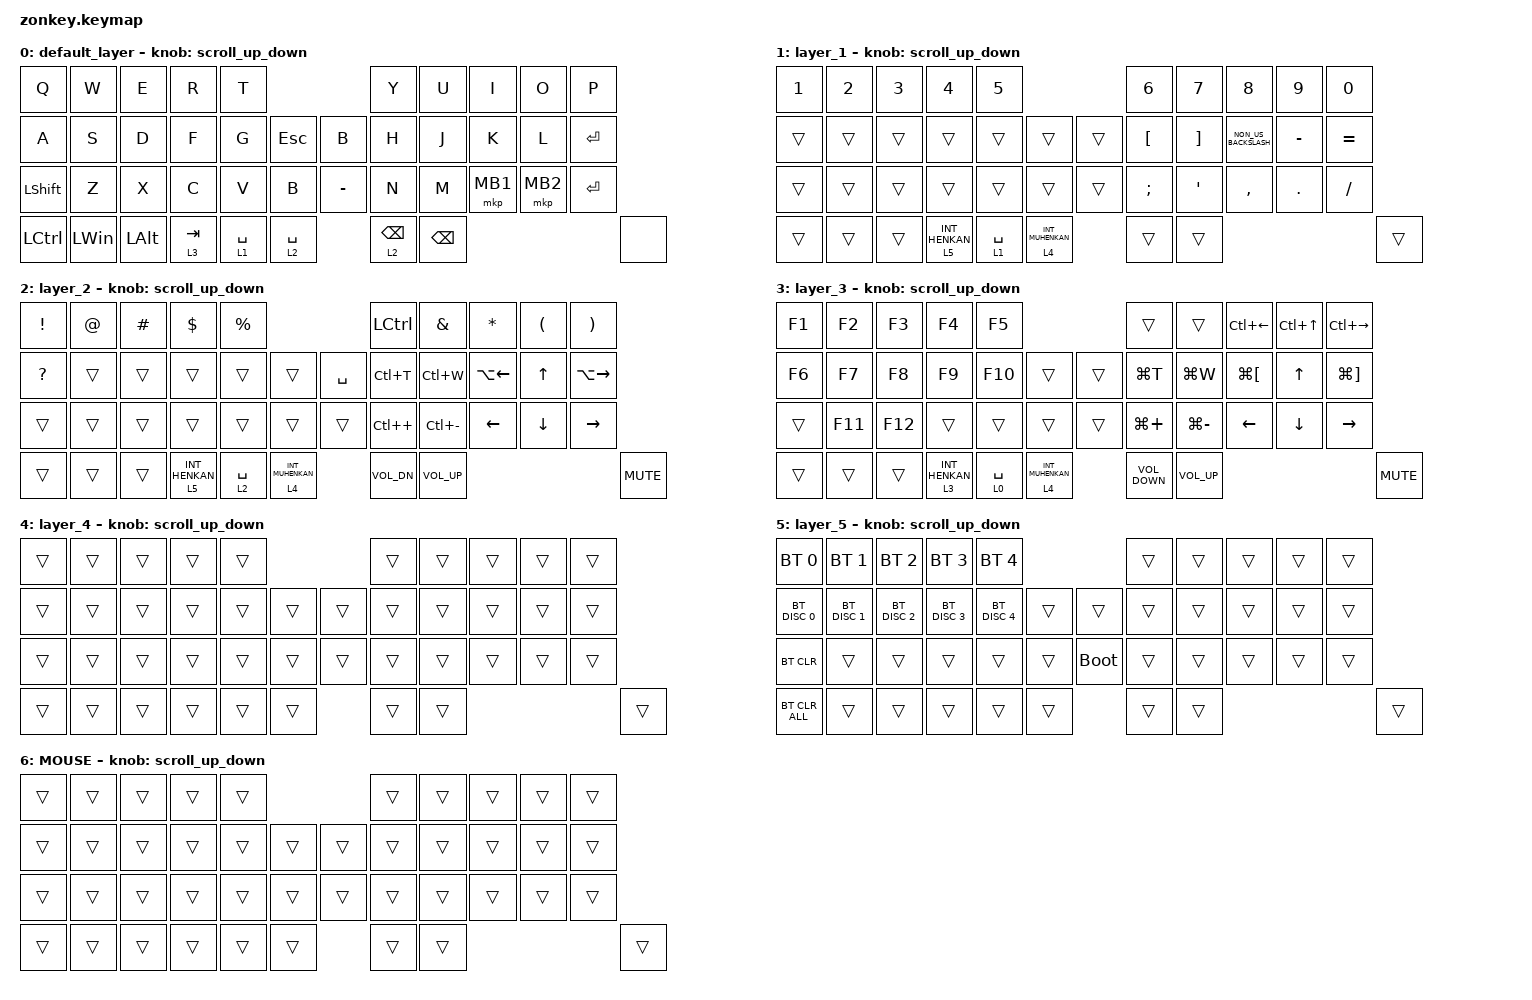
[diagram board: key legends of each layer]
#include <physical_layouts.dtsi>
#include <behaviors.dtsi>
#include <dt-bindings/zmk/bt.h>
#include <dt-bindings/zmk/keys.h>
#include <dt-bindings/zmk/pointing.h>

#define ZMK_POINTING_DEFAULT_SCRL_VAL 100
#define DFb 0
#define JIS 1
#define BT 4
#define MOUSE 6
#define JP_DQUOTE       AT                // "
#define JP_AMPERSAND    CARET             // &
#define JP_QUOTE        AMPERSAND         // '
#define JP_EQUAL        UNDER             // =
#define JP_CARET        EQUAL             // ^
#define JP_YEN          0x89              // ¥
#define JP_PLUS         COLON             // +
#define JP_TILDE        PLUS              // ~
#define JP_PIPE         LS(0x89)          // |
#define JP_AT           LEFT_BRACKET      // @
#define JP_COLON        SINGLE_QUOTE      // :
#define JP_ASTERISK     DOUBLE_QUOTES     // *
#define JP_BACKQUOTE    LEFT_BRACE        // `
#define JP_UNDERSCORE   LS(0x87)          // _
#define JP_LBRACKET     RIGHT_BRACKET     // [
#define JP_RBRACKET     BACKSLASH         // ]
#define JP_LPAREN       ASTERISK          // (
#define JP_RPAREN       LEFT_PARENTHESIS  // )
#define JP_LBRACE       RIGHT_BRACE       // {
#define JP_RBRACE       PIPE              // }
#define JP_KANA         LANGUAGE_1        // かな
#define JP_EISU         LANGUAGE_2        // 英数
#define JP_HANZEN       GRAVE             // 半角/全角
#define JP_BSLH  INT1         // (backslash)

&mt {
    flavor = "balanced";
    quick-tap-ms = <0>;
};

/ {
    combos { compatible = "zmk,combos"; };

    macros {
        to_layer_0: to_layer_0 {
            compatible = "zmk,behavior-macro-one-param";
            #binding-cells = <1>;
            bindings = <&to 0 &macro_param_1to1 &kp MACRO_PLACEHOLDER>;
            label = "TO_LAYER_0";
        };
    };

    behaviors {
        lt_to_layer_0: lt_to_layer_0 {
            compatible = "zmk,behavior-hold-tap";
            label = "LAYER_TAP_TO_0";
            bindings = <&mo>, <&to_layer_0>;

            #binding-cells = <2>;
            tapping-term-ms = <200>;
        };

        mo2: mo2 {
            compatible = "zmk,behavior-mod-morph";
            #binding-cells = <0>;
            bindings = <&kp N2>, <&kp AT>;

            mods = <(MOD_LSFT|MOD_RSFT)>;
        };

        mo6: mo6 {
            compatible = "zmk,behavior-mod-morph";
            #binding-cells = <0>;
            bindings = <&kp N6>, <&kp CARET>;

            mods = <(MOD_LSFT|MOD_RSFT)>;
        };

        mo7: mo7 {
            compatible = "zmk,behavior-mod-morph";
            #binding-cells = <0>;
            bindings = <&kp N7>, <&kp AMPS>;

            mods = <(MOD_LSFT|MOD_RSFT)>;
        };

        mo8: mo8 {
            compatible = "zmk,behavior-mod-morph";
            #binding-cells = <0>;
            bindings = <&kp N8>, <&kp ASTRK>;

            mods = <(MOD_LSFT|MOD_RSFT)>;
        };

        mo9: mo9 {
            compatible = "zmk,behavior-mod-morph";
            #binding-cells = <0>;
            bindings = <&kp N9>, <&kp LPAR>;

            mods = <(MOD_LSFT|MOD_RSFT)>;
        };

        mo0: mo0 {
            compatible = "zmk,behavior-mod-morph";
            #binding-cells = <0>;
            bindings = <&kp N0>, <&kp LS(N9)>;

            mods = <(MOD_LSFT|MOD_RSFT)>;
        };

        moA: moA {
            compatible = "zmk,behavior-mod-morph";
            #binding-cells = <0>;
            bindings = <&kp MINUS>, <&kp UNDERSCORE>;

            mods = <(MOD_LSFT|MOD_RSFT)>;
        };

        moB: moB {
            compatible = "zmk,behavior-mod-morph";
            #binding-cells = <0>;
            bindings = <&kp EQUAL>, <&kp PLUS>;

            mods = <(MOD_LSFT|MOD_RSFT)>;
        };

        moC: moC {
            compatible = "zmk,behavior-mod-morph";
            #binding-cells = <0>;
            bindings = <&kp INT3>, <&kp JP_PIPE>;

            mods = <(MOD_LSFT|MOD_RSFT)>;
        };

        moD: moD {
            compatible = "zmk,behavior-mod-morph";
            #binding-cells = <0>;
            bindings = <&kp LBKT>, <&kp LBRC>;

            mods = <(MOD_LSFT|MOD_RSFT)>;
        };

        moE: moE {
            compatible = "zmk,behavior-mod-morph";
            #binding-cells = <0>;
            bindings = <&kp RBKT>, <&kp RBRC>;

            mods = <(MOD_LSFT|MOD_RSFT)>;
        };

        moF: moF {
            compatible = "zmk,behavior-mod-morph";
            #binding-cells = <0>;
            bindings = <&kp SEMI>, <&kp KP_PLUS>;

            mods = <(MOD_LSFT|MOD_RSFT)>;
        };

        moG: moG {
            compatible = "zmk,behavior-mod-morph";
            #binding-cells = <0>;
            bindings = <&kp APOSTROPHE>, <&kp DQT>;

            mods = <(MOD_LSFT|MOD_RSFT)>;
        };

        moH: moH {
            compatible = "zmk,behavior-mod-morph";
            #binding-cells = <0>;
            bindings = <&kp BACKSLASH>, <&kp TILDE2>;

            mods = <(MOD_LSFT|MOD_RSFT)>;
        };

        moI: moI {
            compatible = "zmk,behavior-mod-morph";
            #binding-cells = <0>;
            bindings = <&kp JP_BSLH>, <&kp JP_UNDERSCORE>;

            mods = <(MOD_LSFT|MOD_RSFT)>;
        };

        scroll_up_down: behavior_sensor_rotate_mouse_wheel_up_down {
            compatible = "zmk,behavior-sensor-rotate";
            #sensor-binding-cells = <0>;
            bindings = <&msc SCRL_UP>, <&msc SCRL_DOWN>;

            tap-ms = <20>;
        };
    };

    keymap {
        compatible = "zmk,keymap";

        default_layer {
            bindings = <
&kp Q           &kp W         &kp E         &kp R      &kp T                                  &kp Y            &kp U          &kp I     &kp O     &kp P
&kp A           &kp S         &kp D         &kp F      &kp G        &kp ESC        &kp B      &kp H            &kp J          &kp K     &kp L     &kp ENTER
&kp LEFT_SHIFT  &kp Z         &kp X         &kp C      &kp V        &kp B          &kp MINUS  &kp N            &kp M          &mkp MB1  &mkp MB2  &kp ENTER
&kp LCTRL       &kp LEFT_WIN  &kp LEFT_ALT  &lt 3 TAB  &lt 1 SPACE  &lt 2 SPACE               &lt 2 BACKSPACE  &kp BACKSPACE                                 &none
            >;

            sensor-bindings = <&scroll_up_down>;
        };

        layer_1 {
            bindings = <
&kp NUMBER_1  &kp NUMBER_2  &kp NUMBER_3  &kp NUMBER_4      &kp NUMBER_5                                &kp NUMBER_6      &kp NUMBER_7       &kp NUMBER_8          &kp NUMBER_9  &kp NUMBER_0
&trans        &trans        &trans        &trans            &trans        &trans                &trans  &kp LEFT_BRACKET  &kp RIGHT_BRACKET  &kp NON_US_BACKSLASH  &kp MINUS     &kp EQUAL
&trans        &trans        &trans        &trans            &trans        &trans                &trans  &kp SEMICOLON     &kp SQT            &kp COMMA             &kp PERIOD    &kp SLASH
&trans        &trans        &trans        &lt 5 INT_HENKAN  &lt 1 SPACE   &lt 4 INT_MUHENKAN            &trans            &trans                                                               &trans
            >;

            sensor-bindings = <&scroll_up_down>;
        };

        layer_2 {
            bindings = <
&kp EXCLAMATION  &kp AT_SIGN  &kp HASH  &kp DOLLAR        &kp PERCENT                                   &kp LCTRL     &kp AMPERSAND  &kp ASTERISK    &kp LEFT_PARENTHESIS  &kp RIGHT_PARENTHESIS
&kp QUESTION     &trans       &trans    &trans            &trans       &trans                &kp SPACE  &kp LC(T)     &kp LC(W)      &kp LA(LEFT)    &kp UP_ARROW          &kp LA(RIGHT)
&trans           &trans       &trans    &trans            &trans       &trans                &trans     &kp LC(PLUS)  &kp LC(MINUS)  &kp LEFT_ARROW  &kp DOWN_ARROW        &kp RIGHT_ARROW
&trans           &trans       &trans    &lt 5 INT_HENKAN  &lt 2 SPACE  &lt 4 INT_MUHENKAN               &kp C_VOL_DN  &kp C_VOL_UP                                                                &kp C_MUTE
            >;

            sensor-bindings = <&scroll_up_down>;
        };

        layer_3 {
            bindings = <
&kp F1  &kp F2   &kp F3   &kp F4            &kp F5                                     &trans             &trans           &kp LC(LEFT)          &kp LC(UP)  &kp LC(RIGHT)
&kp F6  &kp F7   &kp F8   &kp F9            &kp F10      &trans                &trans  &kp LG(T)          &kp LG(W)        &kp LG(LEFT_BRACKET)  &kp UP      &kp LG(RIGHT_BRACKET)
&trans  &kp F11  &kp F12  &trans            &trans       &trans                &trans  &kp LG(PLUS)       &kp LG(MINUS)    &kp LEFT              &kp DOWN    &kp RIGHT
&trans  &trans   &trans   &lt 3 INT_HENKAN  &lt 0 SPACE  &lt 4 INT_MUHENKAN            &kp C_VOLUME_DOWN  &kp C_VOLUME_UP                                                           &kp C_MUTE
            >;

            sensor-bindings = <&scroll_up_down>;
        };

        layer_4 {
            bindings = <
&trans  &trans  &trans  &trans  &trans                    &trans  &trans  &trans  &trans  &trans
&trans  &trans  &trans  &trans  &trans  &trans    &trans  &trans  &trans  &trans  &trans  &trans
&trans  &trans  &trans  &trans  &trans  &trans    &trans  &trans  &trans  &trans  &trans  &trans
&trans  &trans  &trans  &trans  &trans  &trans            &trans  &trans                          &trans
            >;

            sensor-bindings = <&scroll_up_down>;
        };

        layer_5 {
            bindings = <
&bt BT_SEL 0    &bt BT_SEL 1   &bt BT_SEL 2   &bt BT_SEL 3   &bt BT_SEL 4                          &trans  &trans  &trans  &trans  &trans
&bt BT_DISC 0   &bt BT_DISC 1  &bt BT_DISC 2  &bt BT_DISC 3  &bt BT_DISC 4  &trans    &trans       &trans  &trans  &trans  &trans  &trans
&bt BT_CLR      &trans         &trans         &trans         &trans         &trans    &bootloader  &trans  &trans  &trans  &trans  &trans
&bt BT_CLR_ALL  &trans         &trans         &trans         &trans         &trans                 &trans  &trans                          &trans
            >;

            sensor-bindings = <&scroll_up_down>;
        };

        MOUSE {
            bindings = <
&trans  &trans  &trans  &trans  &trans                    &trans  &trans  &trans  &trans  &trans
&trans  &trans  &trans  &trans  &trans  &trans    &trans  &trans  &trans  &trans  &trans  &trans
&trans  &trans  &trans  &trans  &trans  &trans    &trans  &trans  &trans  &trans  &trans  &trans
&trans  &trans  &trans  &trans  &trans  &trans            &trans  &trans                          &trans
            >;

            sensor-bindings = <&scroll_up_down>;
        };
    };
};
